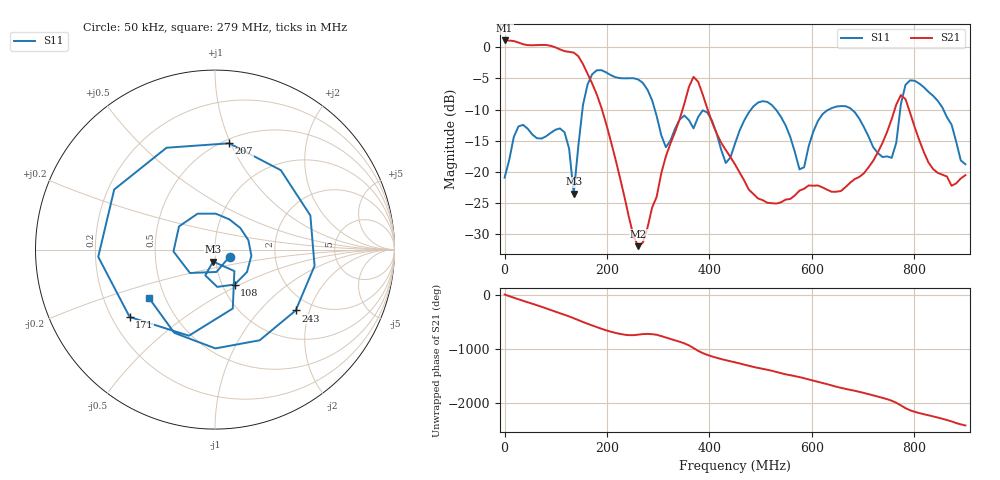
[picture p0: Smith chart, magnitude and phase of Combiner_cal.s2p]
# HZ S RI R 50
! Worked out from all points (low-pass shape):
!   101 points, 50 kHz to 900 MHz, reference 50 ohm
!   highest |S21| = 1.06 dB at 50 kHz (marker M1); lowest = -31.9 dB at 261 MHz (marker M2)
!   |S21| within 3 dB of the highest: start of sweep to 147.5 MHz
!   lowest |S11| = -23.5 dB at 135 MHz (marker M3), VSWR 1.14, Z = 48.5 - j6.47 ohm
!   |S11| at or under -10 dB: start of sweep to 152.1 MHz; 293.4 MHz to 481.3 MHz (187.9 MHz wide, 48.5 % of centre); 529.8 MHz to 633.3 MHz (103.5 MHz wide, 17.8 % of centre) (the widest 3 of 5)
!   S12 and S22 are empty: the file has one direction only
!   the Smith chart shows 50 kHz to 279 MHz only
!   S11 on the Smith chart (normalised r, x): 50 kHz: 1.17, -0.09; 108 MHz: 1.14, -0.47; 171 MHz: 0.27, -0.32; 207 MHz: 0.54, +0.99; 243 MHz: 1.63, -1.62; 279 MHz: 0.41, -0.28
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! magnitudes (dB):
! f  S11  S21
! 50 kHz  -20.9  1.1
! 27.05 MHz  -12.7  0.7
! 108 MHz  -13.0  -0.4
! 126 MHz  -16.3  -0.8
! 135 MHz  -23.5  -0.9
! 153 MHz  -9.3  -2.7
! 171 MHz  -4.4  -5.8
! 207 MHz  -4.5  -14.9
! 243 MHz  -5.0  -27.3
! 261 MHz  -5.2  -31.9
! 279 MHz  -6.8  -28.9
! 306 MHz  -14.1  -20.2
! 369 MHz  -13.0  -4.8
! 450 MHz  -15.5  -18.8
! 504 MHz  -8.7  -24.5
! 576 MHz  -19.6  -23.0
! 603 MHz  -13.5  -22.2
! 666 MHz  -9.5  -22.4
! 756 MHz  -17.7  -11.5
! 792 MHz  -5.3  -10.5
! 837 MHz  -7.8  -19.5
! 900 MHz  -18.8  -20.5
